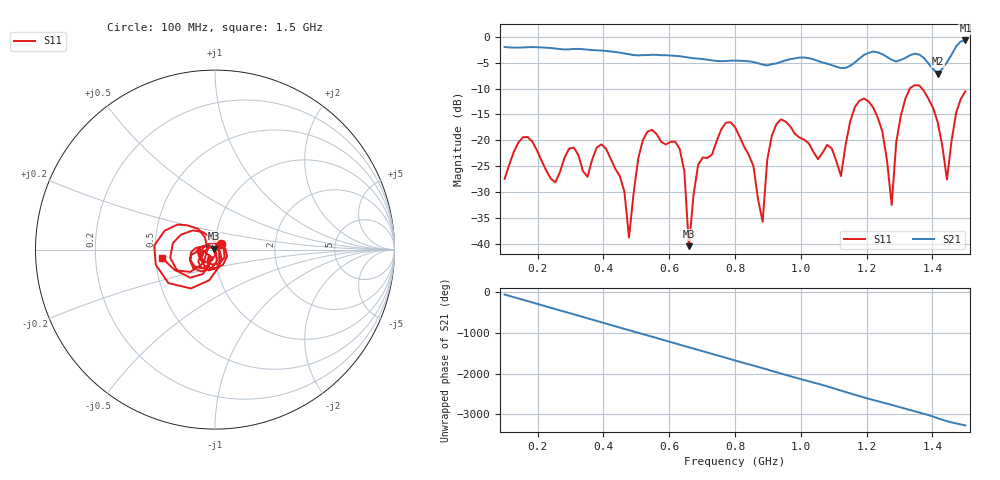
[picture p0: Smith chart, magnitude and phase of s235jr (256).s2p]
! NanoVNA-App
! Date: 2025-09-25 15:06:09
! Start: 100MHz Stop: 1,5GHz Points: 101
! S-Parameter data: F S11 S21 S12 S22
# Hz S RI R 50
!  Frequency  S11_Real  S11_Imag  S21_Real  S21_Imag  S12_Real  S12_Imag  S22_Real  S22_Imag
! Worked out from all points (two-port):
!   101 points, 100 MHz to 1.5 GHz, reference 50 ohm
!   highest |S21| = -0.69 dB at 1.5 GHz (marker M1); lowest = -7.1 dB at 1.416 GHz (marker M2)
!   |S21| within 3 dB of the highest: start of sweep to 622.8 MHz; 1.188 GHz to 1.257 GHz (68.87 MHz wide, 5.63 % of centre) (the widest 2 of 4)
!   lowest |S11| = -40.5 dB at 660 MHz (marker M3), VSWR 1.02, Z = 49.3 + j0.585 ohm
!   |S11| at or under -10 dB: start of sweep to 1.331 GHz; 1.368 GHz to end of sweep
!   S12 and S22 are empty: the file has one direction only
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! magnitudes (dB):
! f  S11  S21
! 100 MHz  -27.5  -2.0
! 156 MHz  -19.4  -2.0
! 338 MHz  -26.0  -2.4
! 408 MHz  -21.6  -2.7
! 478 MHz  -38.8  -3.4
! 520 MHz  -20.0  -3.5
! 576 MHz  -20.3  -3.6
! 632 MHz  -21.7  -3.7
! 660 MHz  -40.5  -4.0
! 688 MHz  -24.8  -4.2
! 800 MHz  -17.4  -4.6
! 884 MHz  -35.8  -5.4
! 926 MHz  -16.9  -5.1
! 1.038 GHz  -22.2  -4.3
! 1.122 GHz  -26.9  -6.0
! 1.206 GHz  -12.5  -3.1
! 1.276 GHz  -32.5  -4.4
! 1.29 GHz  -20.3  -4.8
! 1.332 GHz  -9.9  -3.5
! 1.416 GHz  -16.5  -7.1
! 1.444 GHz  -27.6  -4.9
! 1.5 GHz  -10.5  -0.7
